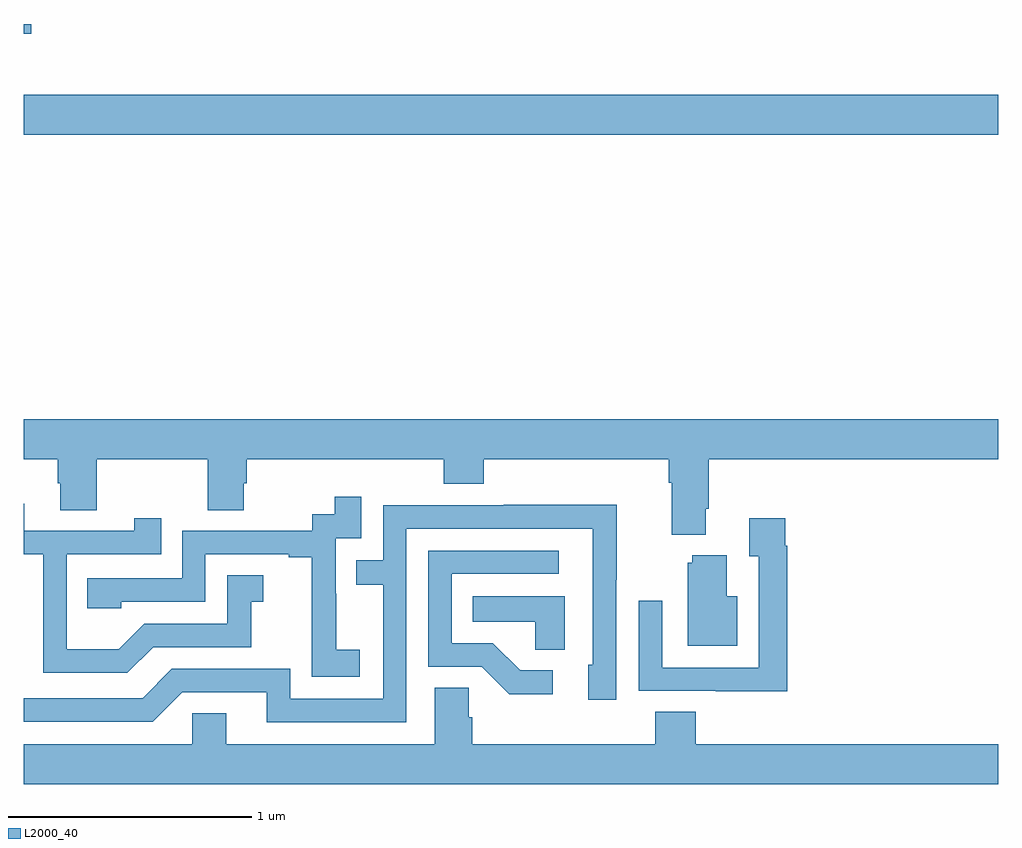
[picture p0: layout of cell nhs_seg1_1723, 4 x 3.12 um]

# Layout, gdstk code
import gdstk
lib = gdstk.Library(unit=1e-6, precision=1e-09)
def R(c, l, rs):  # rectangles x0, y0, x1, y1
    for r in rs: c.add(gdstk.rectangle(r[:2], r[2:], *l))
def P(c, l, *ps):  # polygons
    for p in ps: c.add(gdstk.Polygon(p, *l))
L2000_40 = (2000, 40)

nhs_seg1_1723 = lib.new_cell('nhs_seg1_1723')
R(nhs_seg1_1723, L2000_40, [(205,539.744,209,539.908), (205,540.159,205.031,540.199)])
P(nhs_seg1_1723, L2000_40, [(207.799,538.21),(207.812,538.21),(207.812,538.412),(209,538.412),(209,538.576),(205,538.576),(205,538.412),(205.139,538.412),(205.139,538.314),(205.151,538.314),(205.151,538.204),(205.299,538.204),(205.299,538.412),(205.756,538.412),(205.756,538.204),(205.903,538.204),(205.903,538.314),(205.916,538.314),(205.916,538.412),(206.723,538.412),(206.723,538.313),(206.888,538.313),(206.888,538.412),(207.647,538.412),(207.647,538.316),(207.659,538.316),(207.659,538.103),(207.799,538.103)],
  [(206.38,537.631),(206.282,537.631),(206.282,537.86),(206.28,537.86),(206.28,538.089),(206.385,538.089),(206.385,538.258),(206.277,538.258),(206.277,538.188),(206.184,538.188),(206.184,538.119),(205.65,538.119),(205.65,537.924),(205.261,537.924),(205.261,537.801),(205.401,537.801),(205.401,537.828),(205.746,537.828),(205.746,538.023),(206.087,538.023),(206.087,538.011),(206.183,538.011),(206.183,537.727),(206.182,537.727),(206.182,537.521),(206.38,537.521)],
  [(205.531,537.642),(205.935,537.642),(205.935,537.827),(205.984,537.827),(205.984,537.937),(205.836,537.937),(205.836,537.738),(205.494,537.738),(205.39,537.634),(205.176,537.634),(205.176,538.023),(205.565,538.023),(205.565,538.171),(205.454,538.171),(205.454,538.119),(205.003,538.119),(205.003,538.231),(205,538.231),(205,538.023),(205.08,538.023),(205.08,537.537),(205.426,537.537)],
  [(206.571,538.128),(207.336,538.128),(207.336,537.57),(207.317,537.57),(207.317,537.426),(207.432,537.426),(207.432,537.919),(207.435,537.919),(207.435,538.226),(206.971,538.226),(206.971,538.224),(206.475,538.224),(206.475,537.999),(206.365,537.999),(206.365,537.898),(206.475,537.898),(206.475,537.429),(206.094,537.429),(206.094,537.552),(205.608,537.552),(205.488,537.432),(205,537.432),(205,537.336),(205.53,537.336),(205.65,537.456),(205.997,537.456),(205.997,537.333),(206.571,537.333)],
  [(208.133,538.058),(208.126,538.058),(208.126,538.171),(207.977,538.171),(207.977,538.015),(208.017,538.015),(208.017,537.558),(207.621,537.558),(207.621,537.832),(207.525,537.832),(207.525,537.462),(207.841,537.462),(207.841,537.461),(208.133,537.461)],
  [(207.172,537.546),(207.037,537.546),(206.926,537.657),(206.757,537.657),(206.757,537.942),(207.196,537.942),(207.196,538.038),(206.661,538.038),(206.661,537.561),(206.88,537.561),(206.993,537.449),(207.172,537.449)],
  [(207.928,537.85),(207.886,537.85),(207.886,538.018),(207.743,538.018),(207.743,537.987),(207.725,537.987),(207.725,537.647),(207.928,537.647)],
  [(207.22,537.85),(206.842,537.85),(206.842,537.746),(207.099,537.746),(207.099,537.631),(207.22,537.631)],
  [(209,537.244),(207.758,537.244),(207.758,537.377),(207.593,537.377),(207.593,537.244),(206.84,537.244),(206.84,537.353),(206.826,537.353),(206.826,537.476),(206.687,537.476),(206.687,537.244),(205.831,537.244),(205.831,537.371),(205.692,537.371),(205.692,537.244),(205,537.244),(205,537.08),(209,537.08)])

lib.write_gds('nhs_seg1_1723.gds')
